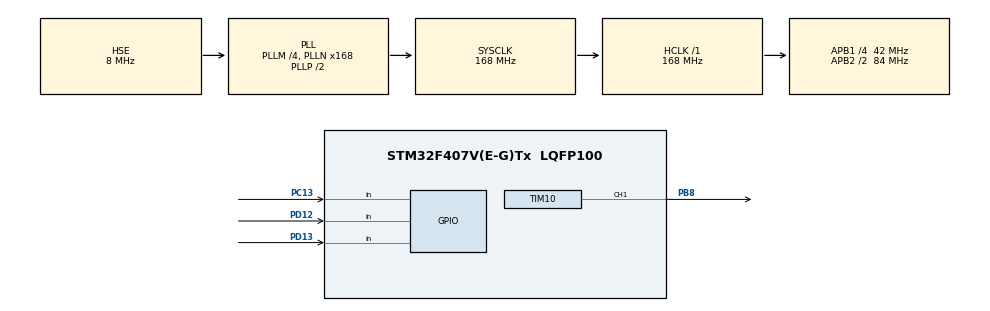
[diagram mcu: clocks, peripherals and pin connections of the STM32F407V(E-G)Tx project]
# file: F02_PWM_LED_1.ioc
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FREERTOS.Tasks01=Encoder,24,128,StartEncoder,Default,NULL,Dynamic,NULL,NULL;KEY,8,128,StartKEY,Default,NULL,Dynamic,NULL,NULL;LED,8,128,StartLED,Default,NULL,Dynamic,NULL,NULL
Mcu.Family=STM32F4
Mcu.Name=STM32F407V(E-G)Tx
Mcu.Package=LQFP100
NVIC.PriorityGroup=NVIC_PRIORITYGROUP_4
NVIC.TIM8_TRG_COM_TIM14_IRQn=true\:15\:0\:false\:false\:true\:false\:false\:true\:true
NVIC.TimeBase=TIM8_TRG_COM_TIM14_IRQn
NVIC.TimeBaseIP=TIM14
PA13.Mode=Serial_Wire
PA13.Signal=SYS_JTMS-SWDIO
PA14.Mode=Serial_Wire
PA14.Signal=SYS_JTCK-SWCLK
PB8.Signal=S_TIM10_CH1
PC13-ANTI_TAMP.Signal=GPIO_Input
PD12.Signal=GPIO_Input
PD13.Signal=GPIO_Input
PH0-OSC_IN.Mode=HSE-External-Oscillator
PH0-OSC_IN.Signal=RCC_OSC_IN
PH1-OSC_OUT.Mode=HSE-External-Oscillator
PH1-OSC_OUT.Signal=RCC_OSC_OUT
ProjectManager.HeapSize=0x200
ProjectManager.StackSize=0x400
ProjectManager.TargetToolchain=CMake
RCC.48MHZClocksFreq_Value=84000000
RCC.AHBFreq_Value=168000000
RCC.APB1CLKDivider=RCC_HCLK_DIV4
RCC.APB1Freq_Value=42000000
RCC.APB1TimFreq_Value=84000000
RCC.APB2CLKDivider=RCC_HCLK_DIV2
RCC.APB2Freq_Value=84000000
RCC.APB2TimFreq_Value=168000000
RCC.CortexFreq_Value=168000000
RCC.HCLKFreq_Value=168000000
RCC.HSE_VALUE=8000000
RCC.HSI_VALUE=16000000
RCC.LSE_VALUE=32768
RCC.PLLM=4
RCC.PLLN=168
RCC.PLLSourceVirtual=RCC_PLLSOURCE_HSE
RCC.SYSCLKFreq_VALUE=168000000
RCC.SYSCLKSource=RCC_SYSCLKSOURCE_PLLCLK
RCC.VCOOutputFreq_Value=336000000
SH.S_TIM10_CH1.0=TIM10_CH1,PWM Generation1 CH1
TIM10.Channel=TIM_CHANNEL_1
VP_FREERTOS_VS_CMSIS_V2.Mode=CMSIS_V2
VP_SYS_VS_tim14.Mode=TIM14
VP_TIM10_VS_ClockSourceINT.Mode=Enable_Timer
board=custom

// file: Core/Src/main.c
/* USER CODE BEGIN Header */
/**
  ******************************************************************************
  * @file           : main.c
  * @brief          : Main program body
  ******************************************************************************
  * @attention
  * @brief          使用筑基板的EC11编码器,和PB8 LED,进行FreeRTOS无阻塞控制,PC13是编码器按下的按键,用于开关LED,使用队列传递变量
  * @todo
  // TODO 使用队列而非全局变量传递参数
  *
  * Copyright (c) 2026 STMicroelectronics.
  * All rights reserved.
  *
  * This software is licensed under terms that can be found in the LICENSE file
  * in the root directory of this software component.
  * If no LICENSE file comes with this software, it is provided AS-IS.
  *
  ******************************************************************************
  */
/* USER CODE END Header */
#include "main.h"
#include "cmsis_os.h"

TIM_HandleTypeDef htim10;

/* Definitions for Encoder */
osThreadId_t EncoderHandle;
const osThreadAttr_t Encoder_attributes = {
  .name = "Encoder",
  .stack_size = 128 * 4,
  .priority = (osPriority_t) osPriorityNormal,
};
/* Definitions for KEY */
osThreadId_t KEYHandle;
const osThreadAttr_t KEY_attributes = {
  .name = "KEY",
  .stack_size = 128 * 4,
  .priority = (osPriority_t) osPriorityLow,
};
/* Definitions for LED */
osThreadId_t LEDHandle;
const osThreadAttr_t LED_attributes = {
  .name = "LED",
  .stack_size = 128 * 4,
  .priority = (osPriority_t) osPriorityLow,
};
/* USER CODE BEGIN PV */

volatile uint8_t led_enabled = 1;
volatile uint16_t pwm_duty = 0;
static uint16_t pwm_arr = 0;
static uint16_t pwm_step = 0;

/* USER CODE END PV */

void SystemClock_Config(void);
static void MX_GPIO_Init(void);
static void MX_TIM10_Init(void);
void StartEncoder(void *argument);
void StartKEY(void *argument);
void StartLED(void *argument);

int main(void)
{

  /* MCU Configuration--------------------------------------------------------*/

  /* Reset of all peripherals, Initializes the Flash interface and the Systick. */
  HAL_Init();

  /* Configure the system clock */
  SystemClock_Config();

  /* Initialize all configured peripherals */
  MX_GPIO_Init();
  MX_TIM10_Init();

  /* Init scheduler */
  osKernelInitialize();

  /* Create the thread(s) */
  /* creation of Encoder */
  EncoderHandle = osThreadNew(StartEncoder, NULL, &Encoder_attributes);

  /* creation of KEY */
  KEYHandle = osThreadNew(StartKEY, NULL, &KEY_attributes);

  /* creation of LED */
  LEDHandle = osThreadNew(StartLED, NULL, &LED_attributes);

  /* Start scheduler */
  osKernelStart();

  /* We should never get here as control is now taken by the scheduler */

  /* Infinite loop */
  while (1)
  {

  }
}

void SystemClock_Config(void)
{
  RCC_OscInitTypeDef RCC_OscInitStruct = {0};
  RCC_ClkInitTypeDef RCC_ClkInitStruct = {0};

  /** Configure the main internal regulator output voltage
  */
  __HAL_RCC_PWR_CLK_ENABLE();
  __HAL_PWR_VOLTAGESCALING_CONFIG(PWR_REGULATOR_VOLTAGE_SCALE1);

  /** Initializes the RCC Oscillators according to the specified parameters
  * in the RCC_OscInitTypeDef structure.
  */
  RCC_OscInitStruct.OscillatorType = RCC_OSCILLATORTYPE_HSE;
  RCC_OscInitStruct.HSEState = RCC_HSE_ON;
  RCC_OscInitStruct.PLL.PLLState = RCC_PLL_ON;
  RCC_OscInitStruct.PLL.PLLSource = RCC_PLLSOURCE_HSE;
  RCC_OscInitStruct.PLL.PLLM = 4;
  RCC_OscInitStruct.PLL.PLLN = 168;
  RCC_OscInitStruct.PLL.PLLP = RCC_PLLP_DIV2;
  RCC_OscInitStruct.PLL.PLLQ = 4;
  if (HAL_RCC_OscConfig(&RCC_OscInitStruct) != HAL_OK)
  {
    Error_Handler();
  }

  /** Initializes the CPU, AHB and APB buses clocks
  */
  RCC_ClkInitStruct.ClockType = RCC_CLOCKTYPE_HCLK|RCC_CLOCKTYPE_SYSCLK
                              |RCC_CLOCKTYPE_PCLK1|RCC_CLOCKTYPE_PCLK2;
  RCC_ClkInitStruct.SYSCLKSource = RCC_SYSCLKSOURCE_PLLCLK;
  RCC_ClkInitStruct.AHBCLKDivider = RCC_SYSCLK_DIV1;
  RCC_ClkInitStruct.APB1CLKDivider = RCC_HCLK_DIV4;
  RCC_ClkInitStruct.APB2CLKDivider = RCC_HCLK_DIV2;

  if (HAL_RCC_ClockConfig(&RCC_ClkInitStruct, FLASH_LATENCY_5) != HAL_OK)
  {
    Error_Handler();
  }
}

static void MX_TIM10_Init(void)
{

  TIM_OC_InitTypeDef sConfigOC = {0};

  htim10.Instance = TIM10;
  htim10.Init.Prescaler = 0;
  htim10.Init.CounterMode = TIM_COUNTERMODE_UP;
  htim10.Init.Period = 65535;
  htim10.Init.ClockDivision = TIM_CLOCKDIVISION_DIV1;
  htim10.Init.AutoReloadPreload = TIM_AUTORELOAD_PRELOAD_DISABLE;
  if (HAL_TIM_Base_Init(&htim10) != HAL_OK)
  {
    Error_Handler();
  }
  if (HAL_TIM_PWM_Init(&htim10) != HAL_OK)
  {
    Error_Handler();
  }
  sConfigOC.OCMode = TIM_OCMODE_PWM1;
  sConfigOC.Pulse = 0;
  sConfigOC.OCPolarity = TIM_OCPOLARITY_HIGH;
  sConfigOC.OCFastMode = TIM_OCFAST_DISABLE;
  if (HAL_TIM_PWM_ConfigChannel(&htim10, &sConfigOC, TIM_CHANNEL_1) != HAL_OK)
  {
    Error_Handler();
  }
  HAL_TIM_MspPostInit(&htim10);

}

static void MX_GPIO_Init(void)
{
  GPIO_InitTypeDef GPIO_InitStruct = {0};

  /* GPIO Ports Clock Enable */
  __HAL_RCC_GPIOC_CLK_ENABLE();
  __HAL_RCC_GPIOH_CLK_ENABLE();
  __HAL_RCC_GPIOD_CLK_ENABLE();
  __HAL_RCC_GPIOA_CLK_ENABLE();
  __HAL_RCC_GPIOB_CLK_ENABLE();

  /*Configure GPIO pin : PC13 */
  GPIO_InitStruct.Pin = GPIO_PIN_13;
  GPIO_InitStruct.Mode = GPIO_MODE_INPUT;
  GPIO_InitStruct.Pull = GPIO_PULLUP;
  HAL_GPIO_Init(GPIOC, &GPIO_InitStruct);

  /*Configure GPIO pins : PD12 PD13 */
  GPIO_InitStruct.Pin = GPIO_PIN_12|GPIO_PIN_13;
  GPIO_InitStruct.Mode = GPIO_MODE_INPUT;
  GPIO_InitStruct.Pull = GPIO_PULLUP;
  HAL_GPIO_Init(GPIOD, &GPIO_InitStruct);

}

void StartEncoder(void *argument)
{
  /* USER CODE BEGIN 5 */
  uint8_t last_state = 0;
  const int8_t enc_table[16] = {
      0, -1,  1,  0,
      1,  0,  0, -1,
     -1,  0,  0,  1,
      0,  1, -1,  0
  };
  /* Infinite loop */
  for(;;)
  {
    uint8_t a = (HAL_GPIO_ReadPin(GPIOD, GPIO_PIN_12) == GPIO_PIN_SET) ? 1U : 0U;
    uint8_t b = (HAL_GPIO_ReadPin(GPIOD, GPIO_PIN_13) == GPIO_PIN_SET) ? 1U : 0U;
    uint8_t state = (uint8_t)((a << 1) | b);
    uint8_t idx = (uint8_t)((last_state << 2) | state);
    int8_t dir = enc_table[idx];
    if (dir != 0 && led_enabled && pwm_step != 0)
    {
      if (dir > 0)
      {
        if (pwm_duty + pwm_step >= pwm_arr)
        {
          pwm_duty = pwm_arr;
        }
        else
        {
          pwm_duty = (uint16_t)(pwm_duty + pwm_step);
        }
      }
      else
      {
        if (pwm_duty <= pwm_step)
        {
          pwm_duty = 0;
        }
        else
        {
          pwm_duty = (uint16_t)(pwm_duty - pwm_step);
        }
      }
    }
    last_state = state;
    osDelay(1);
  }
  /* USER CODE END 5 */
}

void StartKEY(void *argument)
{
  /* USER CODE BEGIN StartKEY */
  uint8_t last = 1;
  uint8_t stable = 1;
  uint32_t stable_ms = 0;
  /* Infinite loop */
  for(;;)
  {
    uint8_t now = (HAL_GPIO_ReadPin(GPIOC, GPIO_PIN_13) == GPIO_PIN_SET) ? 1U : 0U;
    if (now != last)
    {
      stable_ms = 0;
      last = now;
    }
    else
    {
      if (stable_ms < 30)
      {
        stable_ms++;
      }
      else if (now != stable)
      {
        stable = now;
        if (stable == 0)
        {
          led_enabled = (uint8_t)(!led_enabled);
        }
      }
    }
    osDelay(1);
  }
  /* USER CODE END StartKEY */
}

void StartLED(void *argument)
{
  /* USER CODE BEGIN StartLED */
  HAL_TIM_PWM_Start(&htim10, TIM_CHANNEL_1);
  pwm_arr = (uint16_t)htim10.Init.Period;
  pwm_step = (uint16_t)(pwm_arr / 100);
  if (pwm_step == 0)
  {
    pwm_step = 1;
  }
  pwm_duty = (uint16_t)(pwm_arr / 2);
  /* Infinite loop */
  for(;;)
  {
    /* PB8 LED is active-low on this board, so invert the PWM compare value. */
    uint16_t out = led_enabled ? (uint16_t)(pwm_arr - pwm_duty) : pwm_arr;
    __HAL_TIM_SET_COMPARE(&htim10, TIM_CHANNEL_1, out);
    osDelay(5);
  }
  /* USER CODE END StartLED */
}

void HAL_TIM_PeriodElapsedCallback(TIM_HandleTypeDef *htim)
{
  if (htim->Instance == TIM14)
  {
    HAL_IncTick();
  }
}

void Error_Handler(void)
{
  __disable_irq();
  while (1)
  {
  }
}
